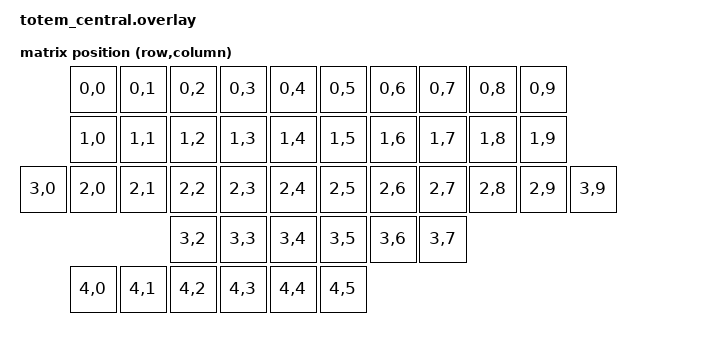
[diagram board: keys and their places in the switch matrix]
/*
 * Dongle (nice!nano) — central role
 * Receives key events from totem_left, totem_right, AdeptBLE via BLE split.
 * Receives trackball input from AdeptBLE via zmk,input-split (reg = <2>).
 * Decompresses xyz-compressed trackball stream from peripheral.
 */

#include <dt-bindings/zmk/matrix_transform.h>
#include <dt-bindings/zmk/input_transform.h>
#include <input/processors.dtsi>
#include <input/processors/xyz.dtsi>
#include "totem-layouts.dtsi"

/ {
    chosen {
        zmk,kscan = &mock_kscan;
        zmk,physical-layout = &physical_layout0;
    };

    /* Full keyboard transform — must match peripheral transforms */
    matrix_transform0: keymap_transform_0 {
        compatible = "zmk,matrix-transform";
        columns = <10>;
        rows = <5>;
        map = <
                RC(0,0) RC(0,1) RC(0,2) RC(0,3) RC(0,4)    RC(0,5) RC(0,6) RC(0,7) RC(0,8) RC(0,9)
                RC(1,0) RC(1,1) RC(1,2) RC(1,3) RC(1,4)    RC(1,5) RC(1,6) RC(1,7) RC(1,8) RC(1,9)
        RC(3,0) RC(2,0) RC(2,1) RC(2,2) RC(2,3) RC(2,4)    RC(2,5) RC(2,6) RC(2,7) RC(2,8) RC(2,9) RC(3,9)
                                RC(3,2) RC(3,3) RC(3,4)    RC(3,5) RC(3,6) RC(3,7)
                RC(4,0) RC(4,1) RC(4,2) RC(4,3) RC(4,4) RC(4,5)
        >;
    };

    mock_kscan: kscan_mock {
        compatible = "zmk,kscan-mock";
        columns = <0>;
        rows = <0>;
        events = <0>;
    };
};

/ {
    split_inputs {
        #address-cells = <1>;
        #size-cells = <0>;

        /* reg must match AdeptBLE peripheral's trackball_peripheral reg */
        trackball_split: trackball@2 {
            compatible = "zmk,input-split";
            reg = <2>;
        };
    };

    trackball_listener: trackball_listener {
        compatible = "zmk,input-listener";
        device = <&trackball_split>;
        /*
         * Decompress xyz stream first, then apply direction transform.
         * XY_SWAP matches the trackball's physical orientation.
         */
        input-processors =
            <&zip_zxy>,
            <&zip_xy_transform (INPUT_TRANSFORM_XY_SWAP)>;

        /* Layers 4 (momentary) and 5 (toggle) both activate scroll */
        tbl_scroll_m {
            layers = <4 5>;
            input-processors =
                <&zip_zxy>,
                <&zip_xy_transform (INPUT_TRANSFORM_XY_SWAP | INPUT_TRANSFORM_Y_INVERT)>,
                <&zip_xy_scaler 1 10>,
                <&zip_xy_to_scroll_mapper>;
        };

        /* Layer 6: precision / snipe mode */
        tbl_snipe {
            layers = <6>;
            input-processors =
                <&zip_zxy>,
                <&zip_xy_transform (INPUT_TRANSFORM_XY_SWAP)>,
                <&zip_xy_scaler 1 5>;
        };
    };
};
